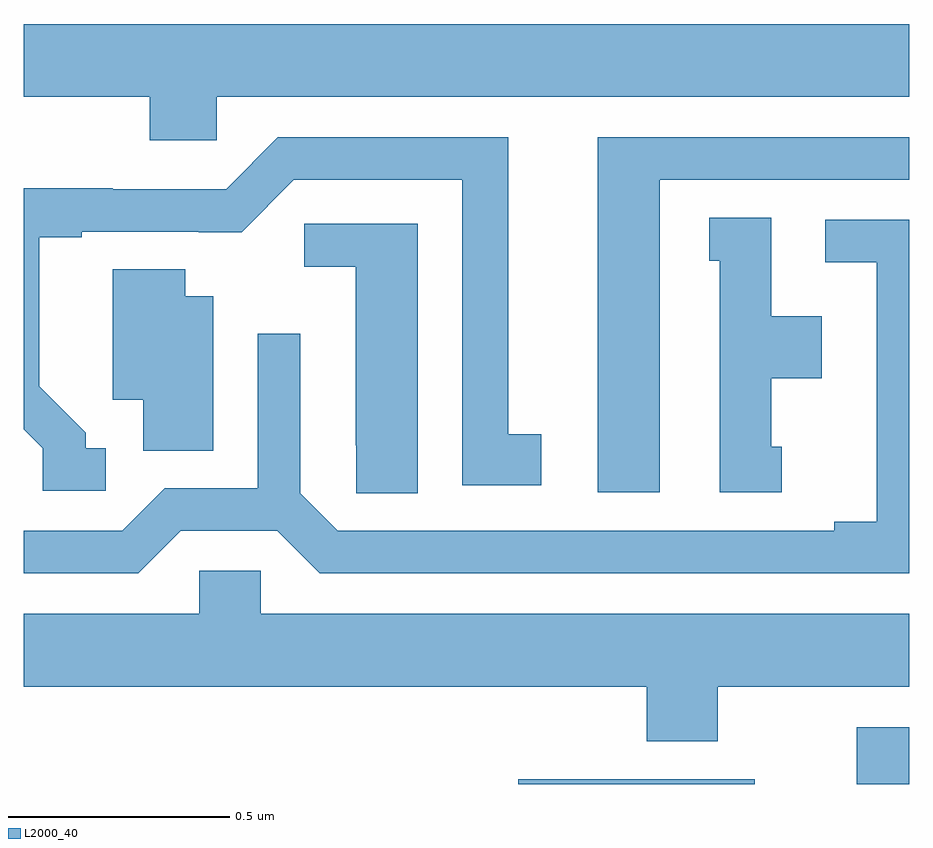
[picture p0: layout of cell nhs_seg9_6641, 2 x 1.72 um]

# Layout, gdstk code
import gdstk
lib = gdstk.Library(unit=1e-6, precision=1e-09)
def R(c, l, rs):  # rectangles x0, y0, x1, y1
    for r in rs: c.add(gdstk.rectangle(r[:2], r[2:], *l))
def P(c, l, *ps):  # polygons
    for p in ps: c.add(gdstk.Polygon(p, *l))
L2000_40 = (2000, 40)

nhs_seg9_6641 = lib.new_cell('nhs_seg9_6641')
R(nhs_seg9_6641, L2000_40, [(195.117,1229.5,195.651,1229.511), (195.881,1229.5,196,1229.628)])
P(nhs_seg9_6641, L2000_40, [(194.436,1231.052),(196,1231.052),(196,1231.216),(194,1231.216),(194,1231.052),(194.285,1231.052),(194.285,1230.954),(194.436,1230.954)],
  [(195.436,1230.864),(196,1230.864),(196,1230.96),(195.296,1230.96),(195.296,1230.159),(195.436,1230.159)],
  [(194.185,1230.258),(194.14,1230.258),(194.14,1230.293),(194.035,1230.398),(194.035,1230.735),(194.131,1230.735),(194.131,1230.747),(194.396,1230.747),(194.396,1230.746),(194.492,1230.746),(194.61,1230.864),(194.99,1230.864),(194.99,1230.174),(195.169,1230.174),(195.169,1230.29),(195.094,1230.29),(195.094,1230.96),(194.574,1230.96),(194.457,1230.843),(194.201,1230.843),(194.201,1230.845),(194,1230.845),(194,1230.301),(194.043,1230.258),(194.043,1230.162),(194.185,1230.162)],
  [(195.712,1230.261),(195.688,1230.261),(195.688,1230.416),(195.802,1230.416),(195.802,1230.556),(195.688,1230.556),(195.688,1230.779),(195.548,1230.779),(195.548,1230.681),(195.572,1230.681),(195.572,1230.159),(195.712,1230.159)],
  [(194.355,1230.072),(194.573,1230.072),(194.669,1229.976),(196,1229.976),(196,1230.774),(195.81,1230.774),(195.81,1230.678),(195.926,1230.678),(195.926,1230.092),(195.83,1230.092),(195.83,1230.072),(194.709,1230.072),(194.625,1230.156),(194.625,1230.517),(194.529,1230.517),(194.529,1230.168),(194.319,1230.168),(194.223,1230.072),(194,1230.072),(194,1229.976),(194.259,1229.976)],
  [(194.89,1230.765),(194.634,1230.765),(194.634,1230.668),(194.75,1230.668),(194.75,1230.265),(194.751,1230.265),(194.751,1230.157),(194.89,1230.157)],
  [(194.428,1230.601),(194.365,1230.601),(194.365,1230.662),(194.201,1230.662),(194.201,1230.368),(194.27,1230.368),(194.27,1230.253),(194.428,1230.253)],
  [(195.567,1229.72),(196,1229.72),(196,1229.884),(194.535,1229.884),(194.535,1229.982),(194.397,1229.982),(194.397,1229.884),(194,1229.884),(194,1229.72),(195.407,1229.72),(195.407,1229.596),(195.567,1229.596)])

lib.write_gds('nhs_seg9_6641.gds')
